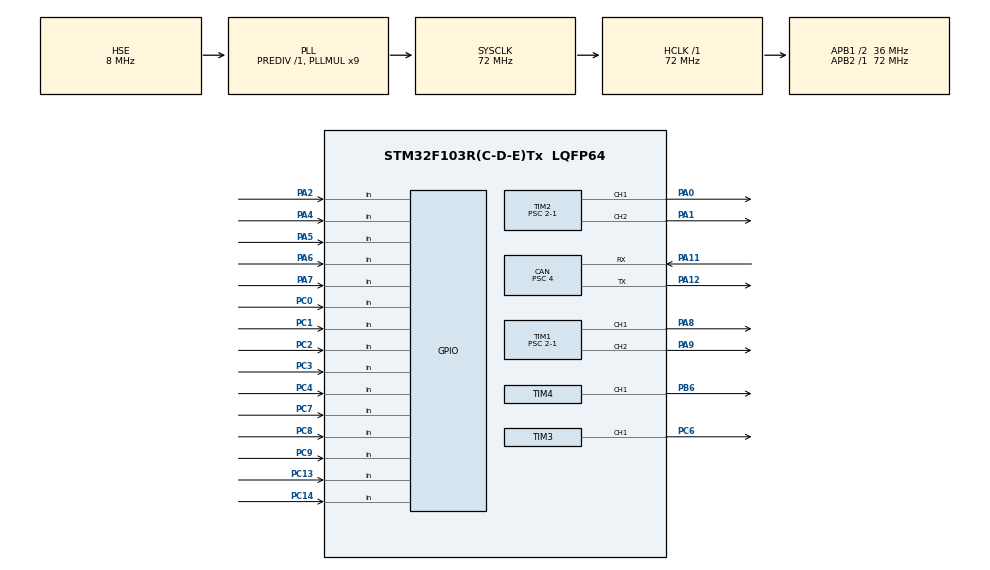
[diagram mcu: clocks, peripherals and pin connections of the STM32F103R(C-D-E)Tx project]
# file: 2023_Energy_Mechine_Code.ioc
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CAN.ABOM=DISABLE
CAN.AWUM=ENABLE
CAN.BS1=CAN_BS1_5TQ
CAN.BS2=CAN_BS2_3TQ
CAN.CalculateBaudRate=1000000
CAN.CalculateTimeBit=1000
CAN.CalculateTimeQuantum=111.11111111111111
CAN.Prescaler=4
CAN.SJW=CAN_SJW_1TQ
CAN.TXFP=ENABLE
Dma.Request0=TIM2_CH1
Dma.Request1=TIM2_CH2/CH4
Dma.Request2=TIM3_CH1/TRIG
Dma.Request3=TIM1_CH1
Dma.Request4=TIM1_CH2
Dma.Request5=TIM4_CH1
Dma.TIM1_CH1.3.Direction=DMA_MEMORY_TO_PERIPH
Dma.TIM1_CH1.3.Instance=DMA1_Channel2
Dma.TIM1_CH1.3.MemDataAlignment=DMA_MDATAALIGN_HALFWORD
Dma.TIM1_CH1.3.MemInc=DMA_MINC_ENABLE
Dma.TIM1_CH1.3.Mode=DMA_CIRCULAR
Dma.TIM1_CH1.3.PeriphDataAlignment=DMA_PDATAALIGN_HALFWORD
Dma.TIM1_CH1.3.PeriphInc=DMA_PINC_DISABLE
Dma.TIM1_CH1.3.Priority=DMA_PRIORITY_MEDIUM
Dma.TIM1_CH2.4.Direction=DMA_MEMORY_TO_PERIPH
Dma.TIM1_CH2.4.Instance=DMA1_Channel3
Dma.TIM1_CH2.4.MemDataAlignment=DMA_MDATAALIGN_HALFWORD
Dma.TIM1_CH2.4.MemInc=DMA_MINC_ENABLE
Dma.TIM1_CH2.4.Mode=DMA_CIRCULAR
Dma.TIM1_CH2.4.PeriphDataAlignment=DMA_PDATAALIGN_HALFWORD
Dma.TIM1_CH2.4.PeriphInc=DMA_PINC_DISABLE
Dma.TIM1_CH2.4.Priority=DMA_PRIORITY_MEDIUM
Dma.TIM2_CH1.0.Direction=DMA_MEMORY_TO_PERIPH
Dma.TIM2_CH1.0.Instance=DMA1_Channel5
Dma.TIM2_CH1.0.MemDataAlignment=DMA_MDATAALIGN_HALFWORD
Dma.TIM2_CH1.0.MemInc=DMA_MINC_ENABLE
Dma.TIM2_CH1.0.Mode=DMA_CIRCULAR
Dma.TIM2_CH1.0.PeriphDataAlignment=DMA_PDATAALIGN_HALFWORD
Dma.TIM2_CH1.0.PeriphInc=DMA_PINC_DISABLE
Dma.TIM2_CH1.0.Priority=DMA_PRIORITY_MEDIUM
Dma.TIM2_CH2/CH4.1.Direction=DMA_MEMORY_TO_PERIPH
Dma.TIM2_CH2/CH4.1.Instance=DMA1_Channel7
Dma.TIM2_CH2/CH4.1.MemDataAlignment=DMA_MDATAALIGN_HALFWORD
Dma.TIM2_CH2/CH4.1.MemInc=DMA_MINC_ENABLE
Dma.TIM2_CH2/CH4.1.Mode=DMA_CIRCULAR
Dma.TIM2_CH2/CH4.1.PeriphDataAlignment=DMA_PDATAALIGN_HALFWORD
Dma.TIM2_CH2/CH4.1.PeriphInc=DMA_PINC_DISABLE
Dma.TIM2_CH2/CH4.1.Priority=DMA_PRIORITY_MEDIUM
Dma.TIM3_CH1/TRIG.2.Direction=DMA_MEMORY_TO_PERIPH
Dma.TIM3_CH1/TRIG.2.Instance=DMA1_Channel6
Dma.TIM3_CH1/TRIG.2.MemDataAlignment=DMA_MDATAALIGN_HALFWORD
Dma.TIM3_CH1/TRIG.2.MemInc=DMA_MINC_ENABLE
Dma.TIM3_CH1/TRIG.2.Mode=DMA_CIRCULAR
Dma.TIM3_CH1/TRIG.2.PeriphDataAlignment=DMA_PDATAALIGN_HALFWORD
Dma.TIM3_CH1/TRIG.2.PeriphInc=DMA_PINC_DISABLE
Dma.TIM3_CH1/TRIG.2.Priority=DMA_PRIORITY_MEDIUM
Dma.TIM4_CH1.5.Direction=DMA_MEMORY_TO_PERIPH
Dma.TIM4_CH1.5.Instance=DMA1_Channel1
Dma.TIM4_CH1.5.MemDataAlignment=DMA_MDATAALIGN_HALFWORD
Dma.TIM4_CH1.5.MemInc=DMA_MINC_ENABLE
Dma.TIM4_CH1.5.Mode=DMA_CIRCULAR
Dma.TIM4_CH1.5.PeriphDataAlignment=DMA_PDATAALIGN_HALFWORD
Dma.TIM4_CH1.5.PeriphInc=DMA_PINC_DISABLE
Dma.TIM4_CH1.5.Priority=DMA_PRIORITY_MEDIUM
Mcu.Family=STM32F1
Mcu.Name=STM32F103R(C-D-E)Tx
Mcu.Package=LQFP64
NVIC.CAN1_RX1_IRQn=true\:5\:0\:true\:false\:true\:true\:true\:true
NVIC.DMA1_Channel1_IRQn=true\:0\:0\:false\:false\:true\:false\:true\:true
NVIC.DMA1_Channel2_IRQn=true\:0\:0\:false\:false\:true\:false\:true\:true
NVIC.DMA1_Channel3_IRQn=true\:0\:0\:false\:false\:true\:false\:true\:true
NVIC.DMA1_Channel5_IRQn=true\:0\:0\:false\:false\:true\:false\:true\:true
NVIC.DMA1_Channel6_IRQn=true\:0\:0\:false\:false\:true\:false\:true\:true
NVIC.DMA1_Channel7_IRQn=true\:0\:0\:false\:false\:true\:false\:true\:true
NVIC.PriorityGroup=NVIC_PRIORITYGROUP_4
NVIC.USB_LP_CAN1_RX0_IRQn=true\:0\:0\:false\:false\:true\:true\:true\:true
PA0-WKUP.Signal=S_TIM2_CH1_ETR
PA1.Signal=S_TIM2_CH2
PA11.Mode=CAN_Activate
PA11.Signal=CAN_RX
PA12.GPIO_Speed=GPIO_SPEED_FREQ_HIGH
PA12.Mode=CAN_Activate
PA12.Signal=CAN_TX
PA13.Mode=Serial_Wire
PA13.Signal=SYS_JTMS-SWDIO
PA14.Mode=Serial_Wire
PA14.Signal=SYS_JTCK-SWCLK
PA2.Signal=GPIO_Input
PA4.GPIO_PuPd=GPIO_PULLUP
PA4.Signal=GPIO_Input
PA5.GPIO_PuPd=GPIO_PULLUP
PA5.Signal=GPIO_Input
PA6.GPIO_PuPd=GPIO_PULLUP
PA6.Signal=GPIO_Input
PA7.GPIO_PuPd=GPIO_PULLUP
PA7.Signal=GPIO_Input
PA8.Signal=S_TIM1_CH1
PA9.Signal=S_TIM1_CH2
PB6.Signal=S_TIM4_CH1
PB7.Signal=S_TIM4_CH2
PC0.GPIO_PuPd=GPIO_PULLUP
PC0.Signal=GPIO_Input
PC1.GPIO_PuPd=GPIO_PULLUP
PC1.Signal=GPIO_Input
PC13-TAMPER-RTC.GPIO_PuPd=GPIO_PULLUP
PC13-TAMPER-RTC.Signal=GPIO_Input
PC14-OSC32_IN.GPIO_PuPd=GPIO_PULLUP
PC14-OSC32_IN.Signal=GPIO_Input
PC2.GPIO_PuPd=GPIO_PULLUP
PC2.Signal=GPIO_Input
PC3.GPIO_PuPd=GPIO_PULLUP
PC3.Signal=GPIO_Input
PC4.GPIO_PuPd=GPIO_PULLUP
PC4.Signal=GPIO_Input
PC6.Signal=S_TIM3_CH1
PC7.GPIO_PuPd=GPIO_PULLUP
PC7.Signal=GPIO_Input
PC8.GPIO_PuPd=GPIO_PULLUP
PC8.Signal=GPIO_Input
PC9.GPIO_PuPd=GPIO_PULLUP
PC9.Signal=GPIO_Input
PD0-OSC_IN.Mode=HSE-External-Oscillator
PD0-OSC_IN.Signal=RCC_OSC_IN
PD1-OSC_OUT.Mode=HSE-External-Oscillator
PD1-OSC_OUT.Signal=RCC_OSC_OUT
ProjectManager.HeapSize=0x200
ProjectManager.StackSize=0x400
ProjectManager.TargetToolchain=MDK-ARM V5
RCC.AHBFreq_Value=72000000
RCC.APB1CLKDivider=RCC_HCLK_DIV2
RCC.APB1Freq_Value=36000000
RCC.APB1TimFreq_Value=72000000
RCC.APB2Freq_Value=72000000
RCC.APB2TimFreq_Value=72000000
RCC.HCLKFreq_Value=72000000
RCC.PLLMUL=RCC_PLL_MUL9
RCC.PLLSourceVirtual=RCC_PLLSOURCE_HSE
RCC.SYSCLKFreq_VALUE=72000000
RCC.SYSCLKSource=RCC_SYSCLKSOURCE_PLLCLK
RCC.USBFreq_Value=72000000
SH.S_TIM1_CH1.0=TIM1_CH1,PWM Generation1 CH1
SH.S_TIM1_CH2.0=TIM1_CH2,PWM Generation2 CH2
SH.S_TIM2_CH1_ETR.0=TIM2_CH1,PWM Generation1 CH1
SH.S_TIM2_CH2.0=TIM2_CH2,PWM Generation2 CH2
SH.S_TIM3_CH1.0=TIM3_CH1,PWM Generation1 CH1
SH.S_TIM4_CH1.0=TIM4_CH1,PWM Generation1 CH1
SH.S_TIM4_CH2.0=TIM4_CH2
TIM1.Channel-PWM\ Generation1\ CH1=TIM_CHANNEL_1
TIM1.Channel-PWM\ Generation2\ CH2=TIM_CHANNEL_2
TIM1.Period=45-1
TIM1.Prescaler=2-1
TIM1.Pulse-PWM\ Generation1\ CH1=20
TIM2.Channel-PWM\ Generation1\ CH1=TIM_CHANNEL_1
TIM2.Channel-PWM\ Generation2\ CH2=TIM_CHANNEL_2
TIM2.Period=45-1
TIM2.Prescaler=2-1
TIM2.Pulse-PWM\ Generation1\ CH1=15
TIM3.Channel-PWM\ Generation1\ CH1=TIM_CHANNEL_1
TIM3.Period=45-1
TIM3.Prescaler=2-1
TIM3.Pulse-PWM\ Generation1\ CH1=20
TIM4.Channel-PWM\ Generation1\ CH1=TIM_CHANNEL_1
TIM4.Period=45
TIM4.Prescaler=2-1
VP_TIM1_VS_ClockSourceINT.Mode=Internal
VP_TIM2_VS_ClockSourceINT.Mode=Internal
board=custom

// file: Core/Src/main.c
/* USER CODE BEGIN Header */
/**
  ******************************************************************************
  * @file           : main.c
  * @brief          : Main program body
  ******************************************************************************
  * @attention
  *  2023 RobotPiolts
  *  锟斤拷锟斤拷锟斤拷锟斤拷小锟斤拷锟截达拷锟斤拷
  *  锟斤拷锟竭ｏ拷zs
	*  锟绞硷拷锟斤拷szhangszu@163.com
	*  QQ:   1273890169
  *
  *
  *
  ******************************************************************************
  */
/* USER CODE END Header */
#include "main.h"
#include "can.h"
#include "dma.h"
#include "tim.h"
#include "gpio.h"

/* USER CODE BEGIN Includes */
#include "WS2812.h"
#include "can_protocal.h"
#include "Flag_State.h"

/* USER CODE END Includes */

/* USER CODE BEGIN PTD */
uint8_t up_state;
uint16_t cntt;
uint16_t down_cntt;
uint16_t Twinkle_time_cnt, Twinkle_time_cnt_times;
Rings_Key_t Rings_Key;
Rings_Key_record_t Rings_Key_record;
uint16_t buffer_time;

uint16_t flag_mode, flag_color, flag_turn, flag_down;
uint16_t flag_mode_last, flag_color_last;

/* USER CODE END PTD */

/* USER CODE BEGIN PD */
#define YES 1
#define NO  0

//锟斤拷锟斤拷叶锟斤拷锟斤拷锟斤拷牛锟�0-4

//#define BOARD_NUMBER  3

//锟斤拷锟斤拷叶锟斤拷锟斤拷锟斤拷牛锟�0-4

//#define RED_NUM       150
#define GREEN_NUM     150
#define BLUE_NUM      150

int wait_time;
int chen1 = 200;
int flag_;
uint8_t color_R, color_G, color_B;
int  the_send_cnt;
float cnt_chen;
/* USER CODE END PD */

void SystemClock_Config(void);

int main(void)
{
    /* MCU Configuration--------------------------------------------------------*/
    /* Reset of all peripherals, Initializes the Flash interface and the Systick. */
    HAL_Init();
    /* Configure the system clock */
    SystemClock_Config();
    /* Initialize all configured peripherals */
    MX_GPIO_Init();
    MX_DMA_Init();
    MX_CAN_Init();
    MX_TIM2_Init();
    MX_TIM3_Init();
    MX_TIM1_Init();
    MX_TIM4_Init();
    /* USER CODE BEGIN 2 */
    CAN1_Init();
    /* USER CODE END 2 */
    /* Infinite loop */
    /* USER CODE BEGIN WHILE */
    HAL_Delay(2000);
    Big_Fu_info_Init(Big_Fu_info);
    WS_WriteAll_RGB_FRAME_DOWN(0, 0, 0); //点亮PCB下边沿函数 PA1       tim2, TIM_CHANNEL_2
    WS_WriteAll_RGB_FRAME(0, 0, 0); ///////点亮边框灯条函数  PA9       tim1, TIM_CHANNEL_2
    WS_WriteAll_RGB_REC(0, 0, 0); /////////点亮箭头灯带函数  PA8       tim1, TIM_CHANNEL_1
    WS_WriteAll_RGB_FRAME_UP(0, 0, 0); ///点亮PCB上边沿函数 PC6       tim3, TIM_CHANNEL_1
    WS_CloseAll_Circle();///////////////关闭PCB靶环函数   PA0       tim2, TIM_CHANNEL_1
    LED_Blue_rectangle_current(0, 0, 0, 0);

    while (1)
    {
        the_send_cnt++;

        if (the_send_cnt % 20 == 0)
        {
            Board_Info_Tx();
            cnt_chen++;
        }

        if (the_send_cnt == 100000)
        {
            the_send_cnt = 0;
        }

        /*读取微动开关数据*/
        Rings_Key.one_ring   = HAL_GPIO_ReadPin(GPIOC, GPIO_PIN_13);
        Rings_Key.two_ring   = HAL_GPIO_ReadPin(GPIOC, GPIO_PIN_14);
        Rings_Key.three_ring = HAL_GPIO_ReadPin(GPIOC, GPIO_PIN_0);
        Rings_Key.four_ring  = HAL_GPIO_ReadPin(GPIOC, GPIO_PIN_1);
        Rings_Key.five_ring  = HAL_GPIO_ReadPin(GPIOC, GPIO_PIN_2);
        Rings_Key.six_ring   = HAL_GPIO_ReadPin(GPIOC, GPIO_PIN_3);
        Rings_Key.seven_ring = HAL_GPIO_ReadPin(GPIOA, GPIO_PIN_4);
        Rings_Key.eight_ring = HAL_GPIO_ReadPin(GPIOA, GPIO_PIN_5);
        Rings_Key.nine_ring  = HAL_GPIO_ReadPin(GPIOA, GPIO_PIN_6);
        Rings_Key.ten_ring   = HAL_GPIO_ReadPin(GPIOA, GPIO_PIN_7);

        //       Rings_Key.ten_ring=1;
        //如果按键损坏，临时解决方案为拉高整个环的引脚
        if (!Board_Order_info[BOARD_NUMBER].RainBow_Flag) //不为流水效果
        {
            /* 颜色实时更新*/
            Big_Fu_info[BOARD_NUMBER].Color =  Board_Order_info[BOARD_NUMBER].Set_Color;

            /*颜色跳变：所有计数计时变量以及标志位清零*/
            if (Big_Fu_info[BOARD_NUMBER].Color != Big_Fu_info[BOARD_NUMBER].Last_Color) //颜色变化
            {
                Twinkle_time_cnt = 0;
                Twinkle_time_cnt_times = 0;
                buffer_time = 0;
                WS_WriteAll_RGB_FRAME_DOWN(0, 0, 0);
                WS_WriteAll_RGB_FRAME(0, 0, 0);
                WS_WriteAll_RGB_REC(0, 0, 0);
                WS_WriteAll_RGB_FRAME_UP(0, 0, 0);
                Big_Fu_info[BOARD_NUMBER].Single_Hit_State = 0;
                Big_Fu_info[BOARD_NUMBER].Hit_LED_state = 0;
                Big_Fu_info[BOARD_NUMBER].Twinkle_Already = 0;
                WS_CloseAll_Circle();
                Rings_Key_record.one_ring_record = 0;
                Rings_Key_record.two_ring_record = 0;
                Rings_Key_record.three_ring_record = 0;
                Rings_Key_record.four_ring_record = 0;
                Rings_Key_record.five_ring_record = 0;
                Rings_Key_record.six_ring_record = 0;
                Rings_Key_record.seven_ring_record = 0;
                Rings_Key_record.eight_ring_record = 0;
                Rings_Key_record.nine_ring_record = 0;
                Rings_Key_record.ten_ring_record = 0;
                cntt = 0;
            }

            Big_Fu_info[BOARD_NUMBER].Last_Color = Big_Fu_info[BOARD_NUMBER].Color;

            if (Board_Order_info[BOARD_NUMBER].Board_Work == 0)
            {
                //		    WS_WriteAll_RGB_FRAME_DOWN(0,0,0);
                //				WS_WriteAll_RGB_REC(0,0,0);
                //				WS_WriteAll_RGB_FRAME_UP(0,0,0);
                //			  WS_WriteAll_RGB_FRAME(0,0,0);
                //		   	WS_CloseAll_Circle();
                //			  Big_Fu_info[BOARD_NUMBER].Single_Hit_State = 0;
                //				Big_Fu_info[BOARD_NUMBER].Hit_LED_state = 0;
                //			  Big_Fu_info[BOARD_NUMBER].Twinkle_Already = 0;
                //
                //			  Rings_Key_record.one_ring_record = 0;
                //				Rings_Key_record.two_ring_record = 0;
                //				Rings_Key_record.three_ring_record = 0;
                //				Rings_Key_record.four_ring_record = 0;
                //				Rings_Key_record.five_ring_record = 0;
                //				Rings_Key_record.six_ring_record = 0;
                //				Rings_Key_record.seven_ring_record = 0;
                //				Rings_Key_record.eight_ring_record = 0;
                //				Rings_Key_record.nine_ring_record = 0;
                //				Rings_Key_record.ten_ring_record = 0;
                //		   	cntt = 0;
                //				buffer_time = 0;
                if (Board_Order_info[BOARD_NUMBER].count_t == 0)
                {
                    WS_WriteAll_RGB_FRAME_DOWN(0, 0, 0);
                    WS_WriteAll_RGB_REC(0, 0, 0);
                    WS_WriteAll_RGB_FRAME_UP(0, 0, 0);
                    WS_WriteAll_RGB_FRAME(0, 0, 0);
                    WS_CloseAll_Circle();
                    Big_Fu_info[BOARD_NUMBER].Single_Hit_State = 0;
                    Big_Fu_info[BOARD_NUMBER].Hit_LED_state = 0;
                    Big_Fu_info[BOARD_NUMBER].Twinkle_Already = 0;
                    Rings_Key_record.one_ring_record = 0;
                    Rings_Key_record.two_ring_record = 0;
                    Rings_Key_record.three_ring_record = 0;
                    Rings_Key_record.four_ring_record = 0;
                    Rings_Key_record.five_ring_record = 0;
                    Rings_Key_record.six_ring_record = 0;
                    Rings_Key_record.seven_ring_record = 0;
                    Rings_Key_record.eight_ring_record = 0;
                    Rings_Key_record.nine_ring_record = 0;
                    Rings_Key_record.ten_ring_record = 0;
                    cntt = 0;
                    buffer_time = 0;
                }
                else if (Board_Order_info[BOARD_NUMBER].count_t == 6)
                {
                    //                    LED_rectangle_current_REC(0, RED_NUM, 0, 0);	//显示进度条
                    //                    WS_WriteAll_RGB_FRAME_DOWN(0, 0, 0);
                    //                    //WS_WriteAll_RGB_REC(0,0,0);
                    //                    WS_WriteAll_RGB_FRAME_UP(0, 0, 0);
                    //                    WS_WriteAll_RGB_FRAME(0, 0, 0);
                    //                    WS_CloseAll_Circle();
                    //                    Big_Fu_info[BOARD_NUMBER].Single_Hit_State = 0;
                    //                    Big_Fu_info[BOARD_NUMBER].Hit_LED_state = 0;
                    //                    Big_Fu_info[BOARD_NUMBER].Twinkle_Already = 0;
                    //                    if (Rings_Key_record.one_ring_record == 1)
                    //                    {
                    //                        WS_Write_RGB_ONE_RING(RED_NUM, 0, 0);
                    //                    }
                    //                    if (Rings_Key_record.two_ring_record == 1)
                    //                    {
                    //                        WS_Write_RGB_TWO_RING(RED_NUM, 0, 0);
                    //                    }
                    //                    if (Rings_Key_record.three_ring_record == 1)
                    //                    {
                    //                        WS_Write_RGB_THREE_RING(RED_NUM, 0, 0);
                    //                    }
                    //                    if (Rings_Key_record.four_ring_record == 1)
                    //                    {
                    //                        WS_Write_RGB_FOUR_RING(RED_NUM, 0, 0);
                    //                    }
                    //                    if (Rings_Key_record.five_ring_record == 1)
                    //                    {
                    //                        WS_Write_RGB_FIVE_RING(RED_NUM, 0, 0);
                    //                    }
                    //                    if (Rings_Key_record.six_ring_record == 1)
                    //                    {
                    //                        WS_Write_RGB_SIX_RING(RED_NUM, 0, 0);
                    //                    }
                    //                    if (Rings_Key_record.seven_ring_record == 1)
                    //                    {
                    //                        WS_Write_RGB_SEVEN_RING(RED_NUM, 0, 0);
                    //                    }
                    //                    if (Rings_Key_record.eight_ring_record == 1)
                    //                    {
                    //                        WS_Write_RGB_EIGHT_RING(RED_NUM, 0, 0);
                    //                    }
                    //                    if (Rings_Key_record.nine_ring_record == 1)
                    //                    {
                    //                        WS_Write_RGB_NINE_RING(RED_NUM, 0, 0);
                    //                    }
                    //                    if (Rings_Key_record.ten_ring_record == 1)
                    //                    {
                    //                        WS_Write_RGB_TEN_RING(RED_NUM, 0, 0);
                    //                        WS_Write_RGB_EIGHT_RING(RED_NUM, 0, 0);
                    //                        WS_Write_RGB_SIX_RING(RED_NUM, 0, 0);
                    //                        WS_Write_RGB_FOUR_RING(RED_NUM, 0, 0);
                    //                        WS_Write_RGB_TWO_RING(RED_NUM, 0, 0);
                    //                    }
                    //
                    //										HAL_Delay(100);
                    ////										Board_Order_info[BOARD_NUMBER].count_t = 0;
                    WS_WriteAll_RGB_FRAME_DOWN(0, 0, 0);
                    WS_WriteAll_RGB_REC(0, 0, 0);
                    WS_WriteAll_RGB_FRAME_UP(0, 0, 0);
                    WS_WriteAll_RGB_FRAME(0, 0, 0);
                    WS_CloseAll_Circle();
                }
                else if (Board_Order_info[BOARD_NUMBER].count_t == 5)
                {
                    //									LED_rectangle_current_REC(0, RED_NUM, 0, 0);	//显示进度条
                    //									WS_WriteAll_RGB_FRAME_DOWN(0, 0, 0);
                    //                   //WS_WriteAll_RGB_REC(0,0,0);
                    //                  WS_WriteAll_RGB_FRAME_UP(0, 0, 0);
                    //                  WS_WriteAll_RGB_FRAME(0, 0, 0);
                    //                  WS_CloseAll_Circle();
                    WS_WriteAll_RGB_FRAME(RED_NUM, 0, 0);
                    WS_WriteAll_RGB_RECT(RED_NUM, 0, 0);
                }
                else
                {
                    LED_rectangle_current_REC(0, RED_NUM, 0, 0);	//显示进度条
                    WS_WriteAll_RGB_FRAME_DOWN(0, 0, 0);
                    //WS_WriteAll_RGB_REC(0,0,0);
                    WS_WriteAll_RGB_FRAME_UP(0, 0, 0);
                    WS_WriteAll_RGB_FRAME(0, 0, 0);
                    WS_CloseAll_Circle();
                    Big_Fu_info[BOARD_NUMBER].Single_Hit_State = 0;
                    Big_Fu_info[BOARD_NUMBER].Hit_LED_state = 0;
                    Big_Fu_info[BOARD_NUMBER].Twinkle_Already = 0;
                    Rings_Key_record.one_ring_record = 0;
                    Rings_Key_record.two_ring_record = 0;
                    Rings_Key_record.three_ring_record = 0;
                    Rings_Key_record.four_ring_record = 0;
                    Rings_Key_record.five_ring_record = 0;
                    Rings_Key_record.six_ring_record = 0;
                    Rings_Key_record.seven_ring_record = 0;
                    Rings_Key_record.eight_ring_record = 0;
                    Rings_Key_record.nine_ring_record = 0;
                    Rings_Key_record.ten_ring_record = 0;
                    cntt = 0;
                    buffer_time = 0;
                }
            }

            /*蓝色模式*/
            if (Big_Fu_info[BOARD_NUMBER].Color == BLUE)
            {
                /*待击打显示*/
                if (Big_Fu_info[BOARD_NUMBER].Hit_LED_state == NO && Big_Fu_info[BOARD_NUMBER].Single_Hit_State == 0
                        && Board_Order_info[BOARD_NUMBER].Board_Work == 1)
                {
                    WS_Write_Cross(0, 0, BLUE_NUM);
                    WS_Write_RGB_TWO_RING(0, 0, BLUE_NUM);
                    WS_Write_RGB_SIX_RING(0, 0, BLUE_NUM);
                    WS_Write_RGB_NINE_RING(0, 0, BLUE_NUM);

                    if (cntt <= 50)
                    {
                        cntt++;
                    }

                    if (cntt <= 30)
                    {
                        LED_Blue_rectangle_current(0, 0, 0, BLUE_NUM);
                        WS_WriteAll_RGB_FRAME_UP(0, 0, BLUE_NUM);
                        WS_WriteAll_RGB_FRAME_DOWN(0, 0, BLUE_NUM);
                    }

                    if (cntt >= 50)
                    {
                        HAL_TIM_PWM_Stop_DMA(&htim2, TIM_CHANNEL_2);
                        HAL_TIM_PWM_Stop_DMA(&htim3, TIM_CHANNEL_1);
                        cntt = 51;
                    }

                    /* 判断是否击打 */
                    if (Rings_Key.one_ring == 0
                            || Rings_Key.two_ring == 0
                            || Rings_Key.three_ring == 0
                            || Rings_Key.four_ring == 0
                            || Rings_Key.five_ring == 0
                            || Rings_Key.six_ring == 0
                            || Rings_Key.seven_ring == 0
                            || Rings_Key.eight_ring == 0
                            || Rings_Key.nine_ring == 0
                            || Rings_Key.ten_ring == 0)
                    {
                        Big_Fu_info[BOARD_NUMBER].Hit_LED_state = 1;
                        buffer_time++;
                        WS_CloseAll_Circle();
                    }
                    else
                    {
                        buffer_time	 = 0;
                    }

                    /* buffer_time的设置是防止弹丸瞬间击打到两个环的中间部分导致两环电平同时变化从而同时点亮 */

                    if (buffer_time > 0)
                    {
                        if (Rings_Key.one_ring == 0)
                        {
                            Rings_Key_record.one_ring_record = 1;
                        }
                        else if (Rings_Key.two_ring == 0)
                        {
                            Rings_Key_record.two_ring_record = 1;
                        }
                        else if (Rings_Key.three_ring == 0)
                        {
                            Rings_Key_record.three_ring_record = 1;
                        }
                        else if (Rings_Key.four_ring == 0)
                        {
                            Rings_Key_record.four_ring_record = 1;
                        }
                        else if (Rings_Key.five_ring == 0)
                        {
                            Rings_Key_record.five_ring_record = 1;
                        }
                        else if (Rings_Key.six_ring == 0)
                        {
                            Rings_Key_record.six_ring_record = 1;
                        }
                        else if (Rings_Key.seven_ring == 0)
                        {
                            Rings_Key_record.seven_ring_record = 1;
                        }
                        else if (Rings_Key.eight_ring == 0)
                        {
                            Rings_Key_record.eight_ring_record = 1;
                        }
                        else if (Rings_Key.nine_ring == 0)
                        {
                            Rings_Key_record.nine_ring_record = 1;
                        }
                        else if (Rings_Key.ten_ring == 0)
                        {
                            Rings_Key_record.ten_ring_record = 1;
                        }

                        if (Rings_Key_record.one_ring_record && Rings_Key_record.two_ring_record)
                        {
                            Rings_Key_record.two_ring_record = 0;
                        }
                        else if (Rings_Key_record.two_ring_record && Rings_Key_record.three_ring_record)
                        {
                            Rings_Key_record.three_ring_record = 0;
                        }
                        else if (Rings_Key_record.three_ring_record && Rings_Key_record.four_ring_record)
                        {
                            Rings_Key_record.four_ring_record = 0;
                        }
                        else if (Rings_Key_record.four_ring_record && Rings_Key_record.five_ring_record)
                        {
                            Rings_Key_record.five_ring_record = 0;
                        }
                        else if (Rings_Key_record.five_ring_record && Rings_Key_record.six_ring_record)
                        {
                            Rings_Key_record.six_ring_record = 0;
                        }
                        else if (Rings_Key_record.six_ring_record && Rings_Key_record.seven_ring_record)
                        {
                            Rings_Key_record.seven_ring_record = 0;
                        }
                        else if (Rings_Key_record.seven_ring_record && Rings_Key_record.eight_ring_record)
                        {
                            Rings_Key_record.eight_ring_record = 0 ;
                        }
                        else if (Rings_Key_record.eight_ring_record && Rings_Key_record.nine_ring_record)
                        {
                            Rings_Key_record.nine_ring_record = 0;
                        }
                        else if (Rings_Key_record.nine_ring_record && Rings_Key_record.ten_ring_record)
                        {
                            Rings_Key_record.ten_ring_record = 0;
                        }
                    }
                }

                /*击中确认*/
                if (Big_Fu_info[BOARD_NUMBER].Hit_LED_state == YES && Board_Order_info[BOARD_NUMBER].Twinkle_state == NO
                        && Board_Order_info[BOARD_NUMBER].Board_Work == 1)
                {
                    Big_Fu_info[BOARD_NUMBER].Single_Hit_State = YES;
                    cntt = 0;
                    down_cntt = 0;
                }

                /*显示击中灯效*/
                if (Big_Fu_info[BOARD_NUMBER].Single_Hit_State == YES && Board_Order_info[BOARD_NUMBER].Twinkle_state == NO)
                {
                    //				WS_WriteAll_RGB_REC(0,0,BLUE_NUM);//点亮箭头灯带函数
                    LED_rectangle_current_REC(0, 0, 0, BLUE_NUM);
                    WS_WriteAll_RGB_FRAME(0, 0, BLUE_NUM);

                    if (Rings_Key_record.one_ring_record == 1)
                    {
                        WS_Write_RGB_ONE_RING(0, 0, BLUE_NUM);
                    }

                    if (Rings_Key_record.two_ring_record == 1)
                    {
                        WS_Write_RGB_TWO_RING(0, 0, BLUE_NUM);
                    }

                    if (Rings_Key_record.three_ring_record == 1)
                    {
                        WS_Write_RGB_THREE_RING(0, 0, BLUE_NUM);
                    }

                    if (Rings_Key_record.four_ring_record == 1)
                    {
                        WS_Write_RGB_FOUR_RING(0, 0, BLUE_NUM);
                    }

                    if (Rings_Key_record.five_ring_record == 1)
                    {
                        WS_Write_RGB_FIVE_RING(0, 0, BLUE_NUM);
                    }

                    if (Rings_Key_record.six_ring_record == 1)
                    {
                        WS_Write_RGB_SIX_RING(0, 0, BLUE_NUM);
                    }

                    if (Rings_Key_record.seven_ring_record == 1)
                    {
                        WS_Write_RGB_SEVEN_RING(0, 0, BLUE_NUM);
                    }

                    if (Rings_Key_record.eight_ring_record == 1)
                    {
                        WS_Write_RGB_EIGHT_RING(0, 0, BLUE_NUM);
                    }

                    if (Rings_Key_record.nine_ring_record == 1)
                    {
                        WS_Write_RGB_NINE_RING(0, 0, BLUE_NUM);
                    }

                    if (Rings_Key_record.ten_ring_record == 1)
                    {
                        WS_Write_RGB_TEN_RING(0, 0, BLUE_NUM);
                        WS_Write_RGB_EIGHT_RING(0, 0, BLUE_NUM);
                        WS_Write_RGB_SIX_RING(0, 0, BLUE_NUM);
                        WS_Write_RGB_FOUR_RING(0, 0, BLUE_NUM);
                        WS_Write_RGB_TWO_RING(0, 0, BLUE_NUM);
                    }

                    //					wait_time++;
                    //				if(wait_time>chen1)
                    //        {Board_Order_info[BOARD_NUMBER].Board_Work=0,wait_time=0;
                    //				 }
                }
            }

            /*红色模式*/
            if (Big_Fu_info[BOARD_NUMBER].Color == RED)
            {
                /*待击打显示*/
                if (Big_Fu_info[BOARD_NUMBER].Hit_LED_state == 0 && Big_Fu_info[BOARD_NUMBER].Single_Hit_State == 0
                        && Board_Order_info[BOARD_NUMBER].Board_Work == 1)
                {
                    WS_Write_Cross(RED_NUM, 0, 0);
                    WS_Write_RGB_TWO_RING(RED_NUM, 0, 0);
                    WS_Write_RGB_SIX_RING(RED_NUM, 0, 0);
                    WS_Write_RGB_NINE_RING(RED_NUM, 0, 0);

                    if (cntt <= 70)
                    {
                        cntt++;
                    }

                    if (cntt <= 40)
                    {
                        //					LED_Blue_rectangle_current(0,RED_NUM,0,0);
                        //          WS_WriteAll_RGB_FRAME_UP(RED_NUM,0,0);
                        //          WS_WriteAll_RGB_FRAME_DOWN(RED_NUM,0,0);
                        LED_rectangle_current_REC_XIMIE(0, RED_NUM, 0, 0); //熄灭对应的灯
                        LED_Blue_rectangle_current(0, RED_NUM, 0, 0);	//箭头
                    }

                    if (cntt >= 70)
                    {
                        HAL_TIM_PWM_Stop_DMA(&htim2, TIM_CHANNEL_2);
                        HAL_TIM_PWM_Stop_DMA(&htim3, TIM_CHANNEL_1);
                        cntt = 71;
                    }

                    if (Rings_Key.one_ring == 0
                            || Rings_Key.two_ring == 0
                            || Rings_Key.three_ring == 0
                            || Rings_Key.four_ring == 0
                            || Rings_Key.five_ring == 0
                            || Rings_Key.six_ring == 0
                            || Rings_Key.seven_ring == 0
                            || Rings_Key.eight_ring == 0
                            || Rings_Key.nine_ring == 0
                            || Rings_Key.ten_ring == 0)
                    {
                        Big_Fu_info[BOARD_NUMBER].Hit_LED_state = 1;
                        buffer_time++;
                        WS_CloseAll_Circle();
                    }
                    else
                    {
                        buffer_time	 = 0;
                    }

                    if (buffer_time > 0)
                    {
                        if (Rings_Key.one_ring == 0)
                        {
                            Rings_Key_record.one_ring_record = 1;
                        }
                        else if (Rings_Key.two_ring == 0)
                        {
                            Rings_Key_record.two_ring_record = 1;
                        }
                        else if (Rings_Key.three_ring == 0)
                        {
                            Rings_Key_record.three_ring_record = 1;
                        }
                        else if (Rings_Key.four_ring == 0)
                        {
                            Rings_Key_record.four_ring_record = 1;
                        }
                        else if (Rings_Key.five_ring == 0)
                        {
                            Rings_Key_record.five_ring_record = 1;
                        }
                        else if (Rings_Key.six_ring == 0)
                        {
                            Rings_Key_record.six_ring_record = 1;
                        }
                        else if (Rings_Key.seven_ring == 0)
                        {
                            Rings_Key_record.seven_ring_record = 1;
                        }
                        else if (Rings_Key.eight_ring == 0)
                        {
                            Rings_Key_record.eight_ring_record = 1;
                        }
                        else if (Rings_Key.nine_ring == 0)
                        {
                            Rings_Key_record.nine_ring_record = 1;
                        }
                        else if (Rings_Key.ten_ring == 0)
                        {
                            Rings_Key_record.ten_ring_record = 1;
                        }

                        if (Rings_Key_record.one_ring_record && Rings_Key_record.two_ring_record)
                        {
                            Rings_Key_record.two_ring_record = 0;
                        }
                        else if (Rings_Key_record.two_ring_record && Rings_Key_record.three_ring_record)
                        {
                            Rings_Key_record.three_ring_record = 0;
                        }
                        else if (Rings_Key_record.three_ring_record && Rings_Key_record.four_ring_record)
                        {
                            Rings_Key_record.four_ring_record = 0;
                        }
                        else if (Rings_Key_record.four_ring_record && Rings_Key_record.five_ring_record)
                        {
                            Rings_Key_record.five_ring_record = 0;
                        }
                        else if (Rings_Key_record.five_ring_record && Rings_Key_record.six_ring_record)
                        {
                            Rings_Key_record.six_ring_record = 0;
                        }
                        else if (Rings_Key_record.six_ring_record && Rings_Key_record.seven_ring_record)
                        {
                            Rings_Key_record.seven_ring_record = 0;
                        }
                        else if (Rings_Key_record.seven_ring_record && Rings_Key_record.eight_ring_record)
                        {
                            Rings_Key_record.eight_ring_record = 0 ;
                        }
                        else if (Rings_Key_record.eight_ring_record && Rings_Key_record.nine_ring_record)
                        {
                            Rings_Key_record.nine_ring_record = 0;
                        }
                        else if (Rings_Key_record.nine_ring_record && Rings_Key_record.ten_ring_record)
                        {
                            Rings_Key_record.ten_ring_record = 0;
                        }
                    }
                }

                /*击中显示*/
                if (Big_Fu_info[BOARD_NUMBER].Hit_LED_state == YES && Board_Order_info[BOARD_NUMBER].Twinkle_state == NO
                        && Board_Order_info[BOARD_NUMBER].Board_Work == 1)
                {
                    Big_Fu_info[BOARD_NUMBER].Single_Hit_State = YES;
                    cntt = 0;
                    down_cntt = 0;
                }

                if (Big_Fu_info[BOARD_NUMBER].Single_Hit_State == YES && Board_Order_info[BOARD_NUMBER].Twinkle_state == NO)
                {
                    //				WS_WriteAll_RGB_REC(RED_NUM,0,0);
                    //LED_rectangle_current_REC(0,RED_NUM,0,0);
                    LED_rectangle_current_REC_2(0, RED_NUM, 0, 0);
                    WS_WriteAll_RGB_FRAME_DOWN(255, 0, 0);
                    WS_WriteAll_RGB_FRAME(RED_NUM, 0, 0);

                    if (Rings_Key_record.one_ring_record == 1)
                    {
                        WS_Write_RGB_ONE_RING(RED_NUM, 0, 0);
                    }

                    if (Rings_Key_record.two_ring_record == 1)
                    {
                        WS_Write_RGB_TWO_RING(RED_NUM, 0, 0);
                    }

                    if (Rings_Key_record.three_ring_record == 1)
                    {
                        WS_Write_RGB_THREE_RING(RED_NUM, 0, 0);
                    }

                    if (Rings_Key_record.four_ring_record == 1)
                    {
                        WS_Write_RGB_FOUR_RING(RED_NUM, 0, 0);
                    }

                    if (Rings_Key_record.five_ring_record == 1)
                    {
                        WS_Write_RGB_FIVE_RING(RED_NUM, 0, 0);
                    }

                    if (Rings_Key_record.six_ring_record == 1)
                    {
                        WS_Write_RGB_SIX_RING(RED_NUM, 0, 0);
                    }

                    if (Rings_Key_record.seven_ring_record == 1)
                    {
                        WS_Write_RGB_SEVEN_RING(RED_NUM, 0, 0);
                    }

                    if (Rings_Key_record.eight_ring_record == 1)
                    {
                        WS_Write_RGB_EIGHT_RING(RED_NUM, 0, 0);
                    }

                    if (Rings_Key_record.nine_ring_record == 1)
                    {
                        WS_Write_RGB_NINE_RING(RED_NUM, 0, 0);
                    }

                    if (Rings_Key_record.ten_ring_record == 1)
                    {
                        WS_Write_RGB_TEN_RING(RED_NUM, 0, 0);
                        WS_Write_RGB_EIGHT_RING(RED_NUM, 0, 0);
                        WS_Write_RGB_SIX_RING(RED_NUM, 0, 0);
                        WS_Write_RGB_FOUR_RING(RED_NUM, 0, 0);
                        WS_Write_RGB_TWO_RING(RED_NUM, 0, 0);
                    }

                    //			wait_time++;
                    //			if(wait_time>chen1){Board_Order_info[BOARD_NUMBER].Board_Work=0,wait_time=0;}
                }
            }
        }

        //		if(Board_Order_info[BOARD_NUMBER].Board_Work==0)flag_++;
        //		if(flag_>200){Board_Order_info[BOARD_NUMBER].Board_Work=1,flag_=0;}
        //
        /* USER CODE END 3 */
    }
}

void SystemClock_Config(void)
{
    RCC_OscInitTypeDef RCC_OscInitStruct = {0};
    RCC_ClkInitTypeDef RCC_ClkInitStruct = {0};
    /** Initializes the RCC Oscillators according to the specified parameters
    * in the RCC_OscInitTypeDef structure.
    */
    RCC_OscInitStruct.OscillatorType = RCC_OSCILLATORTYPE_HSE;
    RCC_OscInitStruct.HSEState = RCC_HSE_ON;
    RCC_OscInitStruct.HSEPredivValue = RCC_HSE_PREDIV_DIV1;
    RCC_OscInitStruct.HSIState = RCC_HSI_ON;
    RCC_OscInitStruct.PLL.PLLState = RCC_PLL_ON;
    RCC_OscInitStruct.PLL.PLLSource = RCC_PLLSOURCE_HSE;
    RCC_OscInitStruct.PLL.PLLMUL = RCC_PLL_MUL9;

    if (HAL_RCC_OscConfig(&RCC_OscInitStruct) != HAL_OK)
    {
        Error_Handler();
    }

    /** Initializes the CPU, AHB and APB buses clocks
    */
    RCC_ClkInitStruct.ClockType = RCC_CLOCKTYPE_HCLK | RCC_CLOCKTYPE_SYSCLK
                                  | RCC_CLOCKTYPE_PCLK1 | RCC_CLOCKTYPE_PCLK2;
    RCC_ClkInitStruct.SYSCLKSource = RCC_SYSCLKSOURCE_PLLCLK;
    RCC_ClkInitStruct.AHBCLKDivider = RCC_SYSCLK_DIV1;
    RCC_ClkInitStruct.APB1CLKDivider = RCC_HCLK_DIV2;
    RCC_ClkInitStruct.APB2CLKDivider = RCC_HCLK_DIV1;

    if (HAL_RCC_ClockConfig(&RCC_ClkInitStruct, FLASH_LATENCY_2) != HAL_OK)
    {
        Error_Handler();
    }
}

void Error_Handler(void)
{
    __disable_irq();
    while (1)
    {
    }
}
